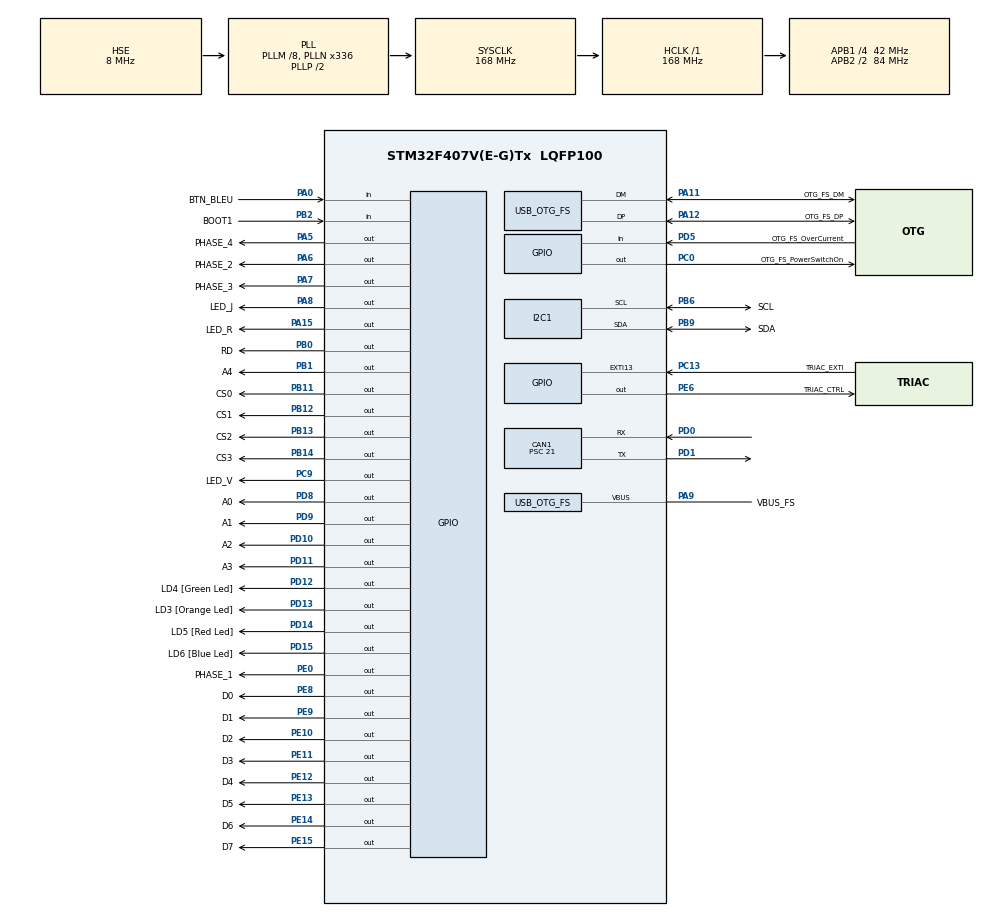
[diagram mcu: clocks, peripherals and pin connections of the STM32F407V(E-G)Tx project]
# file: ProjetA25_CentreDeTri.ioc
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CAN1.BS1=CAN_BS1_13TQ
CAN1.BS2=CAN_BS2_2TQ
CAN1.CalculateBaudRate=125000
CAN1.CalculateTimeBit=8000
CAN1.CalculateTimeQuantum=500.0
CAN1.Prescaler=21
Mcu.Family=STM32F4
Mcu.Name=STM32F407V(E-G)Tx
Mcu.Package=LQFP100
NVIC.EXTI15_10_IRQn=true\:0\:0\:false\:false\:true\:true\:true\:true
NVIC.OTG_FS_IRQn=true\:0\:0\:false\:false\:true\:true\:true\:true
NVIC.PriorityGroup=NVIC_PRIORITYGROUP_0
NVIC.TIM2_IRQn=true\:0\:0\:false\:false\:true\:true\:true\:true
NVIC.TIM8_TRG_COM_TIM14_IRQn=true\:0\:0\:false\:false\:true\:true\:true\:true
PA0-WKUP.GPIO_Label=BTN_BLEU
PA0-WKUP.Signal=GPIO_Input
PA10.GPIO_Label=OTG_FS_ID
PA10.GPIO_Mode=GPIO_MODE_AF_PP
PA10.GPIO_PuPd=GPIO_NOPULL
PA10.GPIO_Speed=GPIO_SPEED_FREQ_LOW
PA10.Signal=USB_OTG_FS_ID
PA11.GPIO_Label=OTG_FS_DM
PA11.GPIO_Mode=GPIO_MODE_AF_PP
PA11.GPIO_PuPd=GPIO_NOPULL
PA11.GPIO_Speed=GPIO_SPEED_FREQ_LOW
PA11.Mode=Host_Only
PA11.Signal=USB_OTG_FS_DM
PA12.GPIO_Label=OTG_FS_DP
PA12.GPIO_Mode=GPIO_MODE_AF_PP
PA12.GPIO_PuPd=GPIO_NOPULL
PA12.GPIO_Speed=GPIO_SPEED_FREQ_LOW
PA12.Mode=Host_Only
PA12.Signal=USB_OTG_FS_DP
PA13.GPIO_Label=SWDIO
PA13.Mode=Serial_Wire
PA13.Signal=SYS_JTMS-SWDIO
PA14.GPIO_Label=SWCLK
PA14.Mode=Serial_Wire
PA14.Signal=SYS_JTCK-SWCLK
PA15.GPIO_Label=LED_R
PA15.Signal=GPIO_Output
PA5.GPIO_Label=PHASE_4
PA5.Signal=GPIO_Output
PA6.GPIO_Label=PHASE_2
PA6.Signal=GPIO_Output
PA7.GPIO_Label=PHASE_3
PA7.Signal=GPIO_Output
PA8.GPIO_Label=LED_J
PA8.Signal=GPIO_Output
PA9.GPIO_Label=VBUS_FS
PA9.GPIO_Mode=GPIO_MODE_INPUT
PA9.GPIO_PuPd=GPIO_NOPULL
PA9.Mode=Activate_VBUS
PA9.Signal=USB_OTG_FS_VBUS
PB0.GPIO_Label=RD
PB0.Signal=GPIO_Output
PB1.GPIO_Label=A4
PB1.Signal=GPIO_Output
PB11.GPIO_Label=CS0
PB11.Signal=GPIO_Output
PB12.GPIO_Label=CS1
PB12.Signal=GPIO_Output
PB13.GPIO_Label=CS2
PB13.Signal=GPIO_Output
PB14.GPIO_Label=CS3
PB14.Signal=GPIO_Output
PB2.GPIO_Label=BOOT1
PB2.GPIO_Mode=GPIO_MODE_INPUT
PB2.GPIO_PuPd=GPIO_NOPULL
PB2.Signal=GPIO_Input
PB6.GPIO_Label=SCL
PB6.GPIO_Mode=GPIO_MODE_AF_OD
PB6.GPIO_Pu=GPIO_PULLUP
PB6.GPIO_PuPd=GPIO_NOPULL
PB6.GPIO_Speed=GPIO_SPEED_FREQ_LOW
PB6.Mode=I2C
PB6.Signal=I2C1_SCL
PB9.GPIO_Label=SDA
PB9.GPIO_Mode=GPIO_MODE_AF_OD
PB9.GPIO_Pu=GPIO_PULLUP
PB9.GPIO_PuPd=GPIO_NOPULL
PB9.GPIO_Speed=GPIO_SPEED_FREQ_LOW
PB9.Mode=I2C
PB9.Signal=I2C1_SDA
PC0.GPIO_Label=OTG_FS_PowerSwitchOn
PC0.GPIO_PuPd=GPIO_NOPULL
PC0.GPIO_Speed=GPIO_SPEED_FREQ_LOW
PC0.PinState=GPIO_PIN_SET
PC0.Signal=GPIO_Output
PC13-ANTI_TAMP.GPIO_Label=TRIAC_EXTI
PC13-ANTI_TAMP.GPIO_ModeDefaultEXTI=GPIO_MODE_IT_FALLING
PC13-ANTI_TAMP.Signal=GPXTI13
PC14-OSC32_IN.GPIO_Label=PC14-OSC32_IN
PC14-OSC32_IN.Mode=LSE-External-Oscillator
PC14-OSC32_IN.Signal=RCC_OSC32_IN
PC15-OSC32_OUT.GPIO_Label=PC15-OSC32_OUT
PC15-OSC32_OUT.Mode=LSE-External-Oscillator
PC15-OSC32_OUT.Signal=RCC_OSC32_OUT
PC9.GPIO_Label=LED_V
PC9.Signal=GPIO_Output
PD0.Mode=CAN_Activate
PD0.Signal=CAN1_RX
PD1.Mode=CAN_Activate
PD1.Signal=CAN1_TX
PD10.GPIO_Label=A2
PD10.Signal=GPIO_Output
PD11.GPIO_Label=A3
PD11.Signal=GPIO_Output
PD12.GPIO_Label=LD4 [Green Led]
PD12.GPIO_PuPd=GPIO_NOPULL
PD12.GPIO_Speed=GPIO_SPEED_FREQ_LOW
PD12.Signal=GPIO_Output
PD13.GPIO_Label=LD3 [Orange Led]
PD13.GPIO_PuPd=GPIO_NOPULL
PD13.GPIO_Speed=GPIO_SPEED_FREQ_LOW
PD13.Signal=GPIO_Output
PD14.GPIO_Label=LD5 [Red Led]
PD14.GPIO_PuPd=GPIO_NOPULL
PD14.GPIO_Speed=GPIO_SPEED_FREQ_LOW
PD14.Signal=GPIO_Output
PD15.GPIO_Label=LD6 [Blue Led]
PD15.GPIO_PuPd=GPIO_NOPULL
PD15.GPIO_Speed=GPIO_SPEED_FREQ_LOW
PD15.Signal=GPIO_Output
PD5.GPIO_Label=OTG_FS_OverCurrent
PD5.GPIO_Mode=GPIO_MODE_INPUT
PD5.GPIO_PuPd=GPIO_NOPULL
PD5.Signal=GPIO_Input
PD8.GPIO_Label=A0
PD8.Signal=GPIO_Output
PD9.GPIO_Label=A1
PD9.Signal=GPIO_Output
PE0.GPIO_Label=PHASE_1
PE0.Signal=GPIO_Output
PE10.GPIO_Label=D2
PE10.Signal=GPIO_Output
PE11.GPIO_Label=D3
PE11.Signal=GPIO_Output
PE12.GPIO_Label=D4
PE12.Signal=GPIO_Output
PE13.GPIO_Label=D5
PE13.Signal=GPIO_Output
PE14.GPIO_Label=D6
PE14.Signal=GPIO_Output
PE15.GPIO_Label=D7
PE15.Signal=GPIO_Output
PE6.GPIO_Label=TRIAC_CTRL
PE6.Signal=GPIO_Output
PE8.GPIO_Label=D0
PE8.Signal=GPIO_Output
PE9.GPIO_Label=D1
PE9.Signal=GPIO_Output
PH0-OSC_IN.GPIO_Label=PH0-OSC_IN
PH0-OSC_IN.Mode=HSE-External-Oscillator
PH0-OSC_IN.Signal=RCC_OSC_IN
PH1-OSC_OUT.GPIO_Label=PH1-OSC_OUT
PH1-OSC_OUT.Mode=HSE-External-Oscillator
PH1-OSC_OUT.Signal=RCC_OSC_OUT
ProjectManager.HeapSize=0x200
ProjectManager.StackSize=0x400
ProjectManager.TargetToolchain=STM32CubeIDE
RCC.48MHZClocksFreq_Value=48000000
RCC.AHBFreq_Value=168000000
RCC.APB1CLKDivider=RCC_HCLK_DIV4
RCC.APB1Freq_Value=42000000
RCC.APB1TimFreq_Value=84000000
RCC.APB2CLKDivider=RCC_HCLK_DIV2
RCC.APB2Freq_Value=84000000
RCC.APB2TimFreq_Value=168000000
RCC.CortexFreq_Value=168000000
RCC.HCLKFreq_Value=168000000
RCC.HSE_VALUE=8000000
RCC.HSI_VALUE=16000000
RCC.PLLM=8
RCC.PLLN=336
RCC.PLLQ=7
RCC.SYSCLKFreq_VALUE=168000000
RCC.SYSCLKSource=RCC_SYSCLKSOURCE_PLLCLK
RCC.VCOOutputFreq_Value=336000000
TIM14.Period=55999
TIM14.Prescaler=2
TIM2.Period=16799
USB_HOST.BSP.number=1
USB_HOST.USBH_HandleTypeDef-CDC_FS=hUsbHostFS
USB_HOST.VirtualModeFS=Cdc
USB_HOST0.BSP.STBoard=false
USB_HOST0.BSP.api=Unknown
USB_HOST0.BSP.instance=PC0
USB_HOST0.BSP.ip=GPIO
USB_HOST0.BSP.mode=Output
USB_HOST0.BSP.name=Drive_VBUS_FS
USB_HOST0.BSP.solution=PC0
USB_OTG_FS.VirtualMode=Host_Only
USB_OTG_FS.phy_itface=HCD_PHY_EMBEDDED
VP_TIM14_VS_ClockSourceINT.Mode=Enable_Timer
VP_TIM2_VS_ClockSourceINT.Mode=Internal
VP_USB_HOST_VS_USB_HOST_CDC_FS.Mode=CDC_FS
board=STM32F407G-DISC1

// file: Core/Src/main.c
/* USER CODE BEGIN Header */
/**
  ******************************************************************************
  * @file           : main.c
  * @brief          : Main program body
  ******************************************************************************
  * @attention
  *
  * Copyright (c) 2025 STMicroelectronics.
  * All rights reserved.
  *
  * This software is licensed under terms that can be found in the LICENSE file
  * in the root directory of this software component.
  * If no LICENSE file comes with this software, it is provided AS-IS.
  *
  ******************************************************************************
  */
/* USER CODE END Header */
#include "main.h"
#include "usb_host.h"

/* USER CODE BEGIN Includes */
#include "GLcd.h"
#include "IO_BUS.h"

#include "pilote_Triac.h"
#include "pilote_MoteurPH1.h"
#include "pilote_MoteurPH2.h"
#include "pilote_MoteurPH3.h"
#include "pilote_MoteurPH4.h"
#include "pilote_LED_J.h"
#include "pilote_LED_V.h"
#include "pilote_LED_R.h"
#include "pilote_BoutonBleu.h"
#include "pilote_Timers.h"
#include "pilote_CAN.h"
#include "pilote_I2C.h"

#include "interface_Moteur.h"
#include "interface_Triac.h"
#include "interface_PCF8574.h"
#include "interface_ADC.h"
#include "interface_BoutonBleu.h"
#include "interface_LEDs.h"

#include "ServiceBaseTemps.h"
#include "ServiceCAN637.h"
#include "ServiceLEDs.h"

#include "processus_Affichage.h"
#include "processusCentreDeTri.h"
#include "processusEntreesNumeriques.h"
#include "processusSortiesNumeriques.h"
#include "processusEntreeAnalogique.h"
/* USER CODE END Includes */

CAN_HandleTypeDef hcan1;

I2C_HandleTypeDef hi2c1;

TIM_HandleTypeDef htim2;
TIM_HandleTypeDef htim14;

void SystemClock_Config(void);
static void MX_GPIO_Init(void);
static void MX_I2C1_Init(void);
static void MX_CAN1_Init(void);
static void MX_TIM14_Init(void);
static void MX_TIM2_Init(void);
void MX_USB_HOST_Process(void);

/* USER CODE BEGIN 0 */

void Main_Init(void)
{
	piloteTimers_initialise();
	serviceBaseDeTemps_initialise();

	interfacePCF8574_init();
	interfaceMoteur_Init();
	interfaceADC_Init();
	processusEntreeAnalogique_Init();
	interface_BoutonBleuInit();
	processusEntreesNum_Init();
	processusSortiesNum_Init();
	processusAffichageInit();
	processusCentreDeTri_Init();
	piloteCAN1_initialise();
	serviceCan637_initialise();
	serviceLEDsInit();
	serviceTriac_initialise();
	processusTriac_initialise();
}

void doNothing(void){}

/* USER CODE END 0 */

int main(void)
{

  /* MCU Configuration--------------------------------------------------------*/

  /* Reset of all peripherals, Initializes the Flash interface and the Systick. */
  HAL_Init();

  /* Configure the system clock */
  SystemClock_Config();

  /* Initialize all configured peripherals */
  MX_GPIO_Init();
  MX_I2C1_Init();
  MX_USB_HOST_Init();
  MX_CAN1_Init();
  MX_TIM14_Init();
  MX_TIM2_Init();
  /* USER CODE BEGIN 2 */

  Main_Init();

  piloteTimer14_permetLesInterruptions();
  piloteTimer2_permetLesInterruptions();

  /* USER CODE END 2 */

  /* Infinite loop */
  while (1)
  {
    MX_USB_HOST_Process();

  }
}

void SystemClock_Config(void)
{
  RCC_OscInitTypeDef RCC_OscInitStruct = {0};
  RCC_ClkInitTypeDef RCC_ClkInitStruct = {0};

  /** Configure the main internal regulator output voltage
  */
  __HAL_RCC_PWR_CLK_ENABLE();
  __HAL_PWR_VOLTAGESCALING_CONFIG(PWR_REGULATOR_VOLTAGE_SCALE1);

  /** Initializes the RCC Oscillators according to the specified parameters
  * in the RCC_OscInitTypeDef structure.
  */
  RCC_OscInitStruct.OscillatorType = RCC_OSCILLATORTYPE_HSE;
  RCC_OscInitStruct.HSEState = RCC_HSE_ON;
  RCC_OscInitStruct.PLL.PLLState = RCC_PLL_ON;
  RCC_OscInitStruct.PLL.PLLSource = RCC_PLLSOURCE_HSE;
  RCC_OscInitStruct.PLL.PLLM = 8;
  RCC_OscInitStruct.PLL.PLLN = 336;
  RCC_OscInitStruct.PLL.PLLP = RCC_PLLP_DIV2;
  RCC_OscInitStruct.PLL.PLLQ = 7;
  if (HAL_RCC_OscConfig(&RCC_OscInitStruct) != HAL_OK)
  {
    Error_Handler();
  }

  /** Initializes the CPU, AHB and APB buses clocks
  */
  RCC_ClkInitStruct.ClockType = RCC_CLOCKTYPE_HCLK|RCC_CLOCKTYPE_SYSCLK
                              |RCC_CLOCKTYPE_PCLK1|RCC_CLOCKTYPE_PCLK2;
  RCC_ClkInitStruct.SYSCLKSource = RCC_SYSCLKSOURCE_PLLCLK;
  RCC_ClkInitStruct.AHBCLKDivider = RCC_SYSCLK_DIV1;
  RCC_ClkInitStruct.APB1CLKDivider = RCC_HCLK_DIV4;
  RCC_ClkInitStruct.APB2CLKDivider = RCC_HCLK_DIV2;

  if (HAL_RCC_ClockConfig(&RCC_ClkInitStruct, FLASH_LATENCY_5) != HAL_OK)
  {
    Error_Handler();
  }
}

static void MX_CAN1_Init(void)
{

  hcan1.Instance = CAN1;
  hcan1.Init.Prescaler = 21;
  hcan1.Init.Mode = CAN_MODE_NORMAL;
  hcan1.Init.SyncJumpWidth = CAN_SJW_1TQ;
  hcan1.Init.TimeSeg1 = CAN_BS1_13TQ;
  hcan1.Init.TimeSeg2 = CAN_BS2_2TQ;
  hcan1.Init.TimeTriggeredMode = DISABLE;
  hcan1.Init.AutoBusOff = DISABLE;
  hcan1.Init.AutoWakeUp = DISABLE;
  hcan1.Init.AutoRetransmission = DISABLE;
  hcan1.Init.ReceiveFifoLocked = DISABLE;
  hcan1.Init.TransmitFifoPriority = DISABLE;
  if (HAL_CAN_Init(&hcan1) != HAL_OK)
  {
    Error_Handler();
  }

}

static void MX_I2C1_Init(void)
{

  hi2c1.Instance = I2C1;
  hi2c1.Init.ClockSpeed = 100000;
  hi2c1.Init.DutyCycle = I2C_DUTYCYCLE_2;
  hi2c1.Init.OwnAddress1 = 0;
  hi2c1.Init.AddressingMode = I2C_ADDRESSINGMODE_7BIT;
  hi2c1.Init.DualAddressMode = I2C_DUALADDRESS_DISABLE;
  hi2c1.Init.OwnAddress2 = 0;
  hi2c1.Init.GeneralCallMode = I2C_GENERALCALL_DISABLE;
  hi2c1.Init.NoStretchMode = I2C_NOSTRETCH_DISABLE;
  if (HAL_I2C_Init(&hi2c1) != HAL_OK)
  {
    Error_Handler();
  }

}

static void MX_TIM2_Init(void)
{

  TIM_ClockConfigTypeDef sClockSourceConfig = {0};
  TIM_MasterConfigTypeDef sMasterConfig = {0};

  htim2.Instance = TIM2;
  htim2.Init.Prescaler = 0;
  htim2.Init.CounterMode = TIM_COUNTERMODE_UP;
  htim2.Init.Period = 16799;
  htim2.Init.ClockDivision = TIM_CLOCKDIVISION_DIV1;
  htim2.Init.AutoReloadPreload = TIM_AUTORELOAD_PRELOAD_DISABLE;
  if (HAL_TIM_Base_Init(&htim2) != HAL_OK)
  {
    Error_Handler();
  }
  sClockSourceConfig.ClockSource = TIM_CLOCKSOURCE_INTERNAL;
  if (HAL_TIM_ConfigClockSource(&htim2, &sClockSourceConfig) != HAL_OK)
  {
    Error_Handler();
  }
  sMasterConfig.MasterOutputTrigger = TIM_TRGO_RESET;
  sMasterConfig.MasterSlaveMode = TIM_MASTERSLAVEMODE_DISABLE;
  if (HAL_TIMEx_MasterConfigSynchronization(&htim2, &sMasterConfig) != HAL_OK)
  {
    Error_Handler();
  }

}

static void MX_TIM14_Init(void)
{

  htim14.Instance = TIM14;
  htim14.Init.Prescaler = 2;
  htim14.Init.CounterMode = TIM_COUNTERMODE_UP;
  htim14.Init.Period = 55999;
  htim14.Init.ClockDivision = TIM_CLOCKDIVISION_DIV1;
  htim14.Init.AutoReloadPreload = TIM_AUTORELOAD_PRELOAD_DISABLE;
  if (HAL_TIM_Base_Init(&htim14) != HAL_OK)
  {
    Error_Handler();
  }

}

static void MX_GPIO_Init(void)
{
  GPIO_InitTypeDef GPIO_InitStruct = {0};

  /* GPIO Ports Clock Enable */
  __HAL_RCC_GPIOE_CLK_ENABLE();
  __HAL_RCC_GPIOC_CLK_ENABLE();
  __HAL_RCC_GPIOH_CLK_ENABLE();
  __HAL_RCC_GPIOA_CLK_ENABLE();
  __HAL_RCC_GPIOB_CLK_ENABLE();
  __HAL_RCC_GPIOD_CLK_ENABLE();

  /*Configure GPIO pin Output Level */
  HAL_GPIO_WritePin(GPIOE, TRIAC_CTRL_Pin|D0_Pin|D1_Pin|D2_Pin
                          |D3_Pin|D4_Pin|D5_Pin|D6_Pin
                          |D7_Pin|PHASE_1_Pin, GPIO_PIN_RESET);

  /*Configure GPIO pin Output Level */
  HAL_GPIO_WritePin(OTG_FS_PowerSwitchOn_GPIO_Port, OTG_FS_PowerSwitchOn_Pin, GPIO_PIN_SET);

  /*Configure GPIO pin Output Level */
  HAL_GPIO_WritePin(GPIOA, PHASE_4_Pin|PHASE_2_Pin|PHASE_3_Pin|LED_J_Pin
                          |LED_R_Pin, GPIO_PIN_RESET);

  /*Configure GPIO pin Output Level */
  HAL_GPIO_WritePin(GPIOB, RD_Pin|A4_Pin|CS0_Pin|CS1_Pin
                          |CS2_Pin|CS3_Pin, GPIO_PIN_RESET);

  /*Configure GPIO pin Output Level */
  HAL_GPIO_WritePin(GPIOD, A0_Pin|A1_Pin|A2_Pin|A3_Pin
                          |LD4_Pin|LD3_Pin|LD5_Pin|LD6_Pin, GPIO_PIN_RESET);

  /*Configure GPIO pin Output Level */
  HAL_GPIO_WritePin(LED_V_GPIO_Port, LED_V_Pin, GPIO_PIN_RESET);

  /*Configure GPIO pins : TRIAC_CTRL_Pin D0_Pin D1_Pin D2_Pin
                           D3_Pin D4_Pin D5_Pin D6_Pin
                           D7_Pin PHASE_1_Pin */
  GPIO_InitStruct.Pin = TRIAC_CTRL_Pin|D0_Pin|D1_Pin|D2_Pin
                          |D3_Pin|D4_Pin|D5_Pin|D6_Pin
                          |D7_Pin|PHASE_1_Pin;
  GPIO_InitStruct.Mode = GPIO_MODE_OUTPUT_PP;
  GPIO_InitStruct.Pull = GPIO_NOPULL;
  GPIO_InitStruct.Speed = GPIO_SPEED_FREQ_LOW;
  HAL_GPIO_Init(GPIOE, &GPIO_InitStruct);

  /*Configure GPIO pin : TRIAC_EXTI_Pin */
  GPIO_InitStruct.Pin = TRIAC_EXTI_Pin;
  GPIO_InitStruct.Mode = GPIO_MODE_IT_FALLING;
  GPIO_InitStruct.Pull = GPIO_NOPULL;
  HAL_GPIO_Init(TRIAC_EXTI_GPIO_Port, &GPIO_InitStruct);

  /*Configure GPIO pins : OTG_FS_PowerSwitchOn_Pin LED_V_Pin */
  GPIO_InitStruct.Pin = OTG_FS_PowerSwitchOn_Pin|LED_V_Pin;
  GPIO_InitStruct.Mode = GPIO_MODE_OUTPUT_PP;
  GPIO_InitStruct.Pull = GPIO_NOPULL;
  GPIO_InitStruct.Speed = GPIO_SPEED_FREQ_LOW;
  HAL_GPIO_Init(GPIOC, &GPIO_InitStruct);

  /*Configure GPIO pin : BTN_BLEU_Pin */
  GPIO_InitStruct.Pin = BTN_BLEU_Pin;
  GPIO_InitStruct.Mode = GPIO_MODE_INPUT;
  GPIO_InitStruct.Pull = GPIO_NOPULL;
  HAL_GPIO_Init(BTN_BLEU_GPIO_Port, &GPIO_InitStruct);

  /*Configure GPIO pins : PHASE_4_Pin PHASE_2_Pin PHASE_3_Pin LED_J_Pin
                           LED_R_Pin */
  GPIO_InitStruct.Pin = PHASE_4_Pin|PHASE_2_Pin|PHASE_3_Pin|LED_J_Pin
                          |LED_R_Pin;
  GPIO_InitStruct.Mode = GPIO_MODE_OUTPUT_PP;
  GPIO_InitStruct.Pull = GPIO_NOPULL;
  GPIO_InitStruct.Speed = GPIO_SPEED_FREQ_LOW;
  HAL_GPIO_Init(GPIOA, &GPIO_InitStruct);

  /*Configure GPIO pins : RD_Pin A4_Pin CS0_Pin CS1_Pin
                           CS2_Pin CS3_Pin */
  GPIO_InitStruct.Pin = RD_Pin|A4_Pin|CS0_Pin|CS1_Pin
                          |CS2_Pin|CS3_Pin;
  GPIO_InitStruct.Mode = GPIO_MODE_OUTPUT_PP;
  GPIO_InitStruct.Pull = GPIO_NOPULL;
  GPIO_InitStruct.Speed = GPIO_SPEED_FREQ_LOW;
  HAL_GPIO_Init(GPIOB, &GPIO_InitStruct);

  /*Configure GPIO pin : BOOT1_Pin */
  GPIO_InitStruct.Pin = BOOT1_Pin;
  GPIO_InitStruct.Mode = GPIO_MODE_INPUT;
  GPIO_InitStruct.Pull = GPIO_NOPULL;
  HAL_GPIO_Init(BOOT1_GPIO_Port, &GPIO_InitStruct);

  /*Configure GPIO pins : A0_Pin A1_Pin A2_Pin A3_Pin
                           LD4_Pin LD3_Pin LD5_Pin LD6_Pin */
  GPIO_InitStruct.Pin = A0_Pin|A1_Pin|A2_Pin|A3_Pin
                          |LD4_Pin|LD3_Pin|LD5_Pin|LD6_Pin;
  GPIO_InitStruct.Mode = GPIO_MODE_OUTPUT_PP;
  GPIO_InitStruct.Pull = GPIO_NOPULL;
  GPIO_InitStruct.Speed = GPIO_SPEED_FREQ_LOW;
  HAL_GPIO_Init(GPIOD, &GPIO_InitStruct);

  /*Configure GPIO pin : OTG_FS_OverCurrent_Pin */
  GPIO_InitStruct.Pin = OTG_FS_OverCurrent_Pin;
  GPIO_InitStruct.Mode = GPIO_MODE_INPUT;
  GPIO_InitStruct.Pull = GPIO_NOPULL;
  HAL_GPIO_Init(OTG_FS_OverCurrent_GPIO_Port, &GPIO_InitStruct);

  /* EXTI interrupt init*/
  HAL_NVIC_SetPriority(EXTI15_10_IRQn, 0, 0);
  HAL_NVIC_EnableIRQ(EXTI15_10_IRQn);

}

void Error_Handler(void)
{
  __disable_irq();
  while (1)
  {
  }
}
